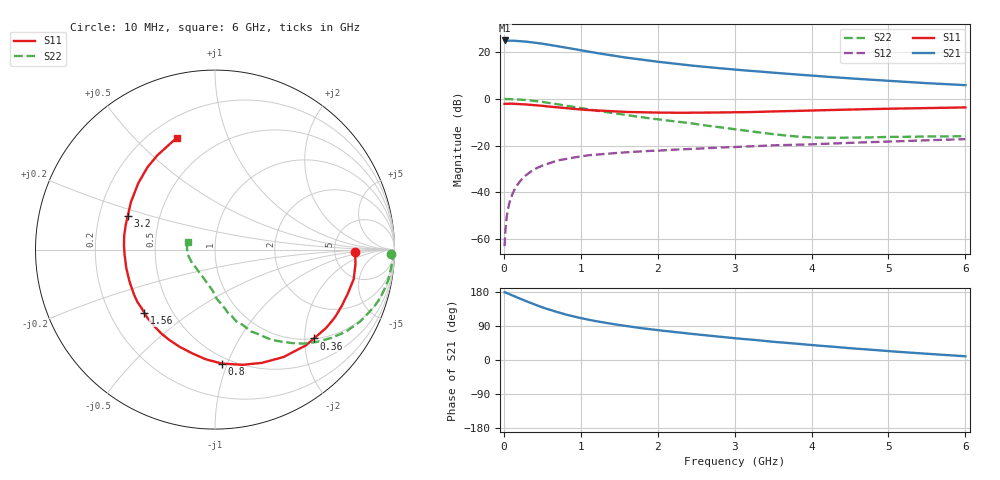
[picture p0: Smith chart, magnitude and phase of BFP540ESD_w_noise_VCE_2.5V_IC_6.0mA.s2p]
! Infineon Technologies  Discrete & RF Semiconductors
! BFP540ESD
! VCE =  2.5 V,  IC =  6.0 mA
! Common Emitter S-Parameters:  Nov 2015
# GHz  S  MA  R  50
!  f  S11  S21  S12  S22
! GHz  MAG  ANG  MAG  ANG  MAG  ANG  MAG  ANG
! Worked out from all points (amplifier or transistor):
!   210 points, 10 MHz to 6 GHz, reference 50 ohm
!   highest |S21| = 25.0 dB at 10 MHz (marker M1)
!   |S21| within 3 dB of that: start of sweep to 794 MHz
!   unconditionally stable (mu >= 1): 3.153 GHz to end of sweep
!   at 185 MHz: K = 0.07, MSG = 30.6 dB, |S12| = -36.4 dB
!   at 1.52 GHz: K = 0.56, MSG = 20.5 dB, |S12| = -23.1 dB
!   at 6 GHz: K = 1.20, MAG = 8.9 dB, |S12| = -17.3 dB
!   lowest NFmin = 0.73 dB at 900 MHz
!   S11 on the Smith chart (normalised r, x): 10 MHz: 8.17, -0.58; 360 MHz: 1.01, -2.22; 800 MHz: 0.45, -0.96; 1.56 GHz: 0.35, -0.34; 3.2 GHz: 0.32, +0.17; 6 GHz: 0.31, +0.67
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0.01  0.7829 -1.0  17.81 178.8  0.0007 104.4  0.9802 -1.3
0.02  0.7823 -2.7  17.55 178.4  0.0015 79.2  0.9926 -1.3
0.05  0.7868 -5.9  17.67 175.6  0.004 90.5  0.9905 -3.4
0.15  0.7803 -17.9  17.5 167.1  0.0123 81.4  0.9794 -10.2
0.3  0.7572 -35.3  16.71 154.4  0.024 75.0  0.9405 -20.0
0.36  0.7411 -41.9  16.23 149.7  0.0283 71.6  0.9176 -23.6
0.5  0.7099 -57.5  15.23 138.9  0.0371 65.2  0.861 -32.1
0.54  0.6964 -61.4  14.82 136.2  0.0391 63.0  0.8412 -34.1
0.68  0.663 -74.8  13.58 127.4  0.0468 57.9  0.7764 -41.0
0.8  0.6361 -86.5  12.56 120.2  0.0517 54.0  0.7201 -46.7
0.9  0.6136 -94.7  11.72 115.1  0.0551 51.0  0.6761 -50.4
1.02  0.588 -103.8  10.81 109.8  0.0593 47.8  0.6266 -54.7
1.2  0.564 -117.0  9.611 102.3  0.0637 44.0  0.5612 -60.3
1.4  0.5434 -129.3  8.529 95.5  0.0682 40.8  0.4988 -66.2
1.56  0.5277 -138.2  7.773 90.5  0.0711 39.1  0.4564 -69.1
2.02  0.5075 -160.5  6.188 78.2  0.078 35.1  0.3624 -78.2
2.58  0.5067 178.2  4.898 66.0  0.0867 31.9  0.275 -87.7
3.1  0.5177 161.9  4.108 55.8  0.0945 29.3  0.2125 -97.0
3.2  0.5208 159.0  3.983 54.1  0.0961 28.8  0.2024 -99.6
4.1  0.5691 137.3  3.061 37.8  0.1079 24.2  0.1475 -136.3
5.1  0.619 120.0  2.38 22.0  0.1233 19.3  0.1533 -171.7
6  0.6563 109.0  1.967 9.8  0.1372 15.1  0.159 164.3
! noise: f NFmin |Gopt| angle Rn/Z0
0.9  0.73  0.05  38  0.12
1.8  0.95  0.08  153  0.11
2.4  0.97  0.09  154  0.1
3  1.1  0.19  178  0.09
4  1.28  0.3  -122  0.14
5  1.5  0.42  -99  0.29
6  1.73  0.51  -100  0.43
